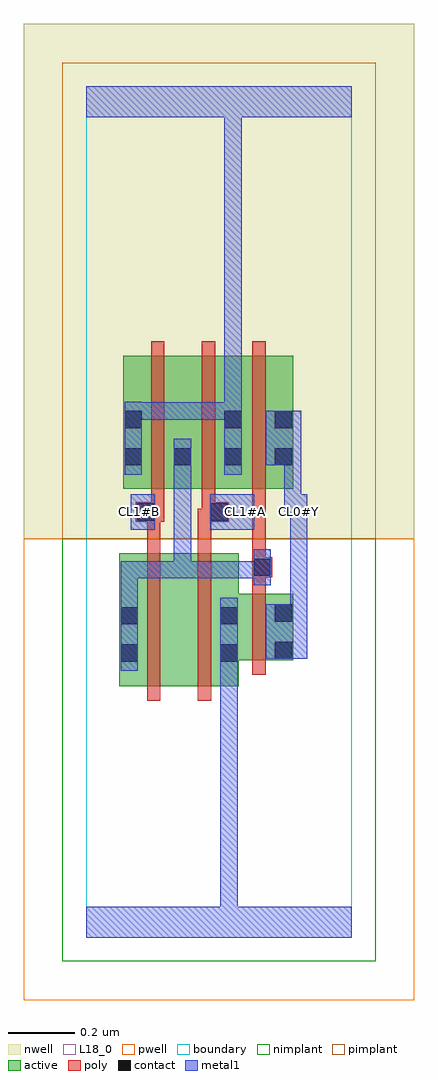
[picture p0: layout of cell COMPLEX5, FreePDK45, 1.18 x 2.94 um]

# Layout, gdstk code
import gdstk
lib = gdstk.Library(unit=1e-6, precision=1e-09)
def R(c, l, rs):  # rectangles x0, y0, x1, y1
    for r in rs: c.add(gdstk.rectangle(r[:2], r[2:], *l))
def A(c, l, x, y, w, h, nx, ny, dx, dy):  # array of equal rectangles
    R(c, l, [(x+i*dx, y+j*dy, x+i*dx+w, y+j*dy+h) for i in range(nx) for j in range(ny)])
active = (1, 0)
pwell = (2, 0)
nwell = (3, 0)
nimplant = (4, 0)
pimplant = (5, 0)
poly = (9, 0)
contact = (10, 0)
metal1 = (11, 0)
L18_0 = (18, 0)
boundary = (235, 0)

complex5 = lib.new_cell('COMPLEX5')
A(complex5, active, 0.26, 1.35, 0.06, 0.294, 3, 1, 0.152, 0)
R(complex5, active, [(0.1,0.756,0.28,1.156), (0.1,0.756,0.16,1.156), (0.28,0.756,0.46,1.156), (0.4,0.756,0.46,0.998), (0.4,0.834,0.624,1.034), (0.564,0.834,0.624,1.034), (0.112,1.35,0.172,1.644), (0.112,1.35,0.32,1.75), (0.26,1.35,0.472,1.75), (0.412,1.35,0.624,1.75)])
R(complex5, pwell, [(-0.188,-0.188,0.988,1.2)])
R(complex5, nwell, [(-0.188,1.2,0.988,2.748)])
R(complex5, nimplant, [(-0.072,-0.072,0.872,1.2)])
R(complex5, pimplant, [(-0.072,1.2,0.872,2.632)])
A(complex5, poly, 0.196, 1.306, 0.04, 0.488, 3, 1, 0.152, 0)
R(complex5, poly, [(0.184,0.712,0.224,1.2), (0.336,0.712,0.376,1.2), (0.5,0.79,0.54,1.078), (0.5,1.038,0.54,1.124), (0.5,1.084,0.56,1.144), (0.5,1.104,0.54,1.346), (0.5,1.104,0.54,1.144), (0.5,1.104,0.54,1.144), (0.184,1.16,0.224,1.29), (0.336,1.16,0.376,1.29), (0.15,1.25,0.236,1.31), (0.184,1.25,0.224,1.29), (0.184,1.25,0.224,1.29), (0.336,1.25,0.388,1.29), (0.348,1.25,0.388,1.29), (0.348,1.25,0.43,1.31), (0.196,1.27,0.236,1.346), (0.348,1.27,0.388,1.346)])
A(complex5, contact, 0.264, 1.42, 0.052, 0.052, 3, 1, 0.152, 0)
R(complex5, contact, [(0.104,0.83,0.156,0.882), (0.404,0.83,0.456,0.882), (0.568,0.838,0.62,0.89), (0.104,0.942,0.156,0.994), (0.404,0.942,0.456,0.994), (0.568,0.95,0.62,1.002), (0.504,1.088,0.556,1.14), (0.154,1.254,0.206,1.306), (0.374,1.254,0.426,1.306), (0.116,1.42,0.168,1.472), (0.116,1.532,0.168,1.584), (0.416,1.532,0.468,1.584), (0.568,1.532,0.62,1.584)])
R(complex5, metal1, [(0,0,0.8,0.092), (0.404,0.04,0.456,0.092), (0.404,0.04,0.456,0.092), (0.404,0.04,0.456,0.092), (0.404,0.04,0.456,0.092), (0.404,0.04,0.456,0.092), (0.404,0.04,0.456,0.092), (0.404,0.04,0.456,0.092), (0.404,0.04,0.456,0.092), (0.404,0.04,0.456,0.092), (0.404,0.04,0.456,0.092), (0.404,0.04,0.456,0.092), (0.404,0.04,0.456,0.092), (0.404,0.04,0.456,0.854), (0.104,0.802,0.156,1.022), (0.404,0.802,0.456,1.022), (0.54,0.838,0.666,1.002), (0.614,0.95,0.666,1.278), (0.104,0.97,0.156,1.132), (0.504,1.06,0.556,1.168), (0.104,1.08,0.156,1.132), (0.104,1.08,0.156,1.132), (0.104,1.08,0.156,1.132), (0.104,1.08,0.316,1.132), (0.264,1.08,0.316,1.132), (0.264,1.08,0.316,1.132), (0.264,1.08,0.316,1.132), (0.264,1.08,0.456,1.132), (0.264,1.08,0.316,1.444), (0.404,1.08,0.456,1.132), (0.404,1.08,0.556,1.132), (0.134,1.226,0.206,1.334), (0.374,1.226,0.506,1.334), (0.614,1.226,0.666,1.334), (0.596,1.282,0.648,1.472), (0.596,1.282,0.666,1.334), (0.614,1.282,0.666,1.334), (0.116,1.392,0.168,1.612), (0.264,1.392,0.316,1.444), (0.264,1.392,0.316,1.444), (0.264,1.392,0.316,1.5), (0.416,1.392,0.468,1.612), (0.54,1.42,0.648,1.584), (0.116,1.558,0.168,1.61), (0.116,1.558,0.168,1.61), (0.116,1.558,0.346,1.61), (0.294,1.558,0.346,1.61), (0.294,1.558,0.446,1.61), (0.394,1.558,0.446,1.61), (0.394,1.558,0.468,1.61), (0.416,1.56,0.468,1.612), (0.416,1.56,0.468,1.612), (0.416,1.56,0.468,1.612), (0.416,1.56,0.468,1.612), (0.416,1.56,0.468,1.612), (0.416,1.56,0.468,1.612), (0.416,1.56,0.468,1.612), (0.416,1.56,0.468,1.612), (0.416,1.56,0.468,1.612), (0.416,1.56,0.468,1.612), (0.416,1.56,0.468,1.612), (0.416,1.56,0.468,1.612), (0.416,1.56,0.468,1.612), (0.416,1.56,0.468,1.612), (0.416,1.56,0.468,1.612), (0.416,1.56,0.468,1.612), (0.416,1.56,0.468,2.52), (0,2.468,0.8,2.56)])
R(complex5, L18_0, [(0,0,0.8,0.092), (0.404,0.04,0.456,0.092), (0.404,0.04,0.456,0.092), (0.404,0.04,0.456,0.092), (0.404,0.04,0.456,0.092), (0.404,0.04,0.456,0.092), (0.404,0.04,0.456,0.092), (0.404,0.04,0.456,0.092), (0.404,0.04,0.456,0.092), (0.404,0.04,0.456,0.092), (0.404,0.04,0.456,0.092), (0.404,0.04,0.456,0.092), (0.404,0.04,0.456,0.092), (0.404,0.04,0.456,0.854), (0.404,0.802,0.456,1.022), (0.54,0.838,0.666,1.002), (0.614,0.95,0.666,1.278), (0.134,1.226,0.206,1.334), (0.374,1.226,0.506,1.334), (0.614,1.226,0.666,1.334), (0.134,1.254,0.186,1.306), (0.454,1.254,0.506,1.306), (0.614,1.254,0.666,1.306), (0.596,1.282,0.666,1.334), (0.596,1.282,0.648,1.472), (0.614,1.282,0.666,1.334), (0.116,1.392,0.168,1.612), (0.416,1.392,0.468,1.612), (0.54,1.42,0.648,1.584), (0.116,1.558,0.168,1.61), (0.116,1.558,0.168,1.61), (0.116,1.558,0.346,1.61), (0.294,1.558,0.346,1.61), (0.294,1.558,0.446,1.61), (0.394,1.558,0.446,1.61), (0.394,1.558,0.468,1.61), (0.416,1.56,0.468,1.612), (0.416,1.56,0.468,1.612), (0.416,1.56,0.468,1.612), (0.416,1.56,0.468,1.612), (0.416,1.56,0.468,1.612), (0.416,1.56,0.468,1.612), (0.416,1.56,0.468,1.612), (0.416,1.56,0.468,1.612), (0.416,1.56,0.468,1.612), (0.416,1.56,0.468,1.612), (0.416,1.56,0.468,1.612), (0.416,1.56,0.468,1.612), (0.416,1.56,0.468,1.612), (0.416,1.56,0.468,1.612), (0.416,1.56,0.468,1.612), (0.416,1.56,0.468,1.612), (0.416,1.56,0.468,2.52), (0,2.468,0.8,2.56)])
R(complex5, boundary, [(0,0,0.8,2.56)])
complex5.add(gdstk.Label('CL0#Y', (0.64,1.28), layer=11, texttype=0))
complex5.add(gdstk.Label('CL1#A', (0.48,1.28), layer=11, texttype=0))
complex5.add(gdstk.Label('CL1#B', (0.16,1.28), layer=11, texttype=0))

lib.write_gds('COMPLEX5.gds')
